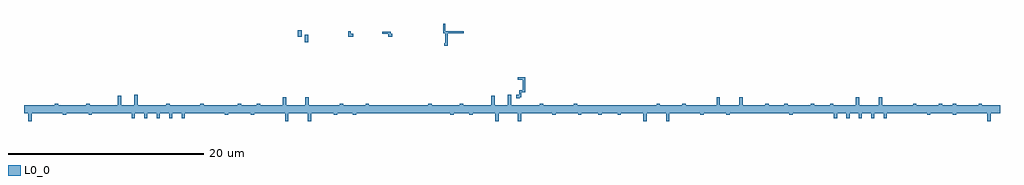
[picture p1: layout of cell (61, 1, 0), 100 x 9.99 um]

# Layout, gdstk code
import gdstk
lib = gdstk.Library(unit=1e-6, precision=1e-09)
def P(c, l, *ps):  # polygons
    for p in ps: c.add(gdstk.Polygon(p, *l))
L0_0 = (0, 0)

c__61__1__0_ = lib.new_cell('(61, 1, 0)')
P(c__61__1__0_, L0_0, [(942.48,921.04),(942.48,920.24),(941.82,920.24),(941.82,921.04),(942.48,921.04)],
  [(900,921.04),(1000,921.04),(1000,920.24),(900,920.24),(900,921.04)],
  [(909.48,921.04),(909.48,920.24),(908.82,920.24),(908.82,921.04),(909.48,921.04)],
  [(987.91,921.04),(991.09,921.04),(991.09,921.215),(991.43,921.215),(991.43,921.04),(993.73,921.04),(993.73,921.215),(994.07,921.215),(994.07,921.04),(994.62,921.04),(994.62,920.24),(979.44,920.24),(979.44,921.04),(980.635,921.04),(980.635,921.215),(980.975,921.215),(980.975,921.04),(982.59,921.04),(982.59,921.215),(982.93,921.215),(982.93,921.04),(985.245,921.04),(985.245,921.875),(985.585,921.875),(985.585,921.04),(987.57,921.04),(987.57,921.88),(987.91,921.88),(987.91,921.04)],
  [(978.4,920.24),(977.46,920.24),(977.46,921.04),(981.42,921.04),(981.42,920.24),(978.74,920.24),(978.74,920.065),(978.4,920.065),(978.4,920.24)],
  [(1000,920.24),(994.62,920.24),(994.62,921.04),(995.17,921.04),(995.17,921.215),(995.51,921.215),(995.51,921.04),(997.81,921.04),(997.81,921.215),(998.15,921.215),(998.15,921.04),(1000,921.04),(1000,920.24)],
  [(1000,920.24),(999.03,920.24),(999.03,919.4),(998.69,919.4),(998.69,920.24),(995.51,920.24),(995.51,920.065),(995.17,920.065),(995.17,920.24),(992.87,920.24),(992.87,920.065),(992.53,920.065),(992.53,920.24),(991.98,920.24),(991.98,921.04),(1000,921.04),(1000,920.24)],
  [(939.84,921.04),(940.5,921.04),(940.5,920.24),(939.84,920.24),(939.84,921.04)],
  [(976.8,921.04),(976.8,920.24),(975.48,920.24),(975.48,921.04),(976.8,921.04)],
  [(941.82,921.04),(941.82,920.24),(940.5,920.24),(940.5,921.04),(941.82,921.04)],
  [(908.82,921.04),(908.82,920.24),(907.5,920.24),(907.5,921.04),(908.82,921.04)],
  [(926.75,920.24),(923.57,920.24),(923.57,920.065),(923.23,920.065),(923.23,920.24),(920.93,920.24),(920.93,920.065),(920.59,920.065),(920.59,920.24),(920.04,920.24),(920.04,921.04),(935.22,921.04),(935.22,920.24),(934.025,920.24),(934.025,920.065),(933.685,920.065),(933.685,920.24),(932.07,920.24),(932.07,920.065),(931.73,920.065),(931.73,920.24),(929.415,920.24),(929.415,919.405),(929.075,919.405),(929.075,920.24),(927.09,920.24),(927.09,919.4),(926.75,919.4),(926.75,920.24)],
  [(940.5,921.04),(940.5,920.24),(935.22,920.24),(935.22,921.04),(940.5,921.04)],
  [(965.79,919.4),(965.79,920.24),(963.805,920.24),(963.805,919.405),(963.465,919.405),(963.465,920.24),(961.15,920.24),(961.15,920.065),(960.81,920.065),(960.81,920.24),(959.195,920.24),(959.195,920.065),(958.855,920.065),(958.855,920.24),(957.66,920.24),(957.66,921.04),(972.84,921.04),(972.84,920.24),(972.29,920.24),(972.29,920.065),(971.95,920.065),(971.95,920.24),(969.65,920.24),(969.65,920.065),(969.31,920.065),(969.31,920.24),(966.13,920.24),(966.13,919.4),(965.79,919.4)],
  [(949.92,922.11),(949.92,921.04),(952.85,921.04),(952.85,921.215),(953.19,921.215),(953.19,921.04),(956.35,921.04),(956.35,921.215),(956.69,921.215),(956.69,921.04),(957.66,921.04),(957.66,920.24),(944.46,920.24),(944.46,921.04),(944.66,921.04),(944.66,921.215),(945,921.215),(945,921.04),(947.89,921.04),(947.89,922.02),(948.23,922.02),(948.23,921.04),(949.58,921.04),(949.58,922.11),(949.92,922.11)],
  [(957.66,921.04),(962.94,921.04),(962.94,920.24),(957.66,920.24),(957.66,921.04)],
  [(962.94,921.04),(964.26,921.04),(964.26,920.24),(962.94,920.24),(962.94,921.04)],
  [(938.52,921.04),(939.84,921.04),(939.84,920.24),(938.52,920.24),(938.52,921.04)],
  [(919.38,921.04),(920.7,921.04),(920.7,920.24),(919.38,920.24),(919.38,921.04)],
  [(900,921.04),(907.5,921.04),(907.5,920.24),(906.95,920.24),(906.95,920.065),(906.61,920.065),(906.61,920.24),(904.31,920.24),(904.31,920.065),(903.97,920.065),(903.97,920.24),(900.79,920.24),(900.79,919.4),(900.45,919.4),(900.45,920.24),(900,920.24),(900,921.04)],
  [(941.78,921.215),(941.78,921.04),(944.46,921.04),(944.46,920.24),(940.5,920.24),(940.5,921.04),(941.44,921.04),(941.44,921.215),(941.78,921.215)],
  [(929.17,921.04),(932.35,921.04),(932.35,921.215),(932.69,921.215),(932.69,921.04),(934.99,921.04),(934.99,921.215),(935.33,921.215),(935.33,921.04),(935.88,921.04),(935.88,920.24),(920.7,920.24),(920.7,921.04),(921.895,921.04),(921.895,921.215),(922.235,921.215),(922.235,921.04),(923.85,921.04),(923.85,921.215),(924.19,921.215),(924.19,921.04),(926.505,921.04),(926.505,921.875),(926.845,921.875),(926.845,921.04),(928.83,921.04),(928.83,921.88),(929.17,921.88),(929.17,921.04)],
  [(975.48,921.04),(975.48,920.24),(972.84,920.24),(972.84,921.04),(975.48,921.04)],
  [(911.64,922.11),(911.64,921.04),(914.57,921.04),(914.57,921.215),(914.91,921.215),(914.91,921.04),(918.07,921.04),(918.07,921.215),(918.41,921.215),(918.41,921.04),(919.38,921.04),(919.38,920.24),(906.18,920.24),(906.18,921.04),(906.38,921.04),(906.38,921.215),(906.72,921.215),(906.72,921.04),(909.61,921.04),(909.61,922.02),(909.95,922.02),(909.95,921.04),(911.3,921.04),(911.3,922.11),(911.64,922.11)],
  [(900,921.04),(902.22,921.04),(902.22,920.24),(900,920.24),(900,921.04)],
  [(916.14,920.24),(915.2,920.24),(915.2,919.69),(914.86,919.69),(914.86,920.24),(913.92,920.24),(913.92,919.69),(913.58,919.69),(913.58,920.24),(912.64,920.24),(912.64,919.69),(912.3,919.69),(912.3,920.24),(911.36,920.24),(911.36,919.69),(911.02,919.69),(911.02,920.24),(909.48,920.24),(909.48,921.04),(920.04,921.04),(920.04,920.24),(916.48,920.24),(916.48,919.69),(916.14,919.69),(916.14,920.24)],
  [(903.5,921.215),(903.5,921.04),(906.18,921.04),(906.18,920.24),(902.22,920.24),(902.22,921.04),(903.16,921.04),(903.16,921.215),(903.5,921.215)],
  [(935.88,921.04),(938.52,921.04),(938.52,920.24),(935.88,920.24),(935.88,921.04)],
  [(988.08,920.24),(987.14,920.24),(987.14,919.69),(986.8,919.69),(986.8,920.24),(985.86,920.24),(985.86,919.69),(985.52,919.69),(985.52,920.24),(984.58,920.24),(984.58,919.69),(984.24,919.69),(984.24,920.24),(983.3,920.24),(983.3,919.69),(982.96,919.69),(982.96,920.24),(981.42,920.24),(981.42,921.04),(991.98,921.04),(991.98,920.24),(988.42,920.24),(988.42,919.69),(988.08,919.69),(988.08,920.24)],
  [(971.31,921.88),(971.31,921.04),(973.295,921.04),(973.295,921.875),(973.635,921.875),(973.635,921.04),(975.95,921.04),(975.95,921.215),(976.29,921.215),(976.29,921.04),(977.905,921.04),(977.905,921.215),(978.245,921.215),(978.245,921.04),(979.44,921.04),(979.44,920.24),(964.26,920.24),(964.26,921.04),(964.81,921.04),(964.81,921.215),(965.15,921.215),(965.15,921.04),(967.45,921.04),(967.45,921.215),(967.79,921.215),(967.79,921.04),(970.97,921.04),(970.97,921.88),(971.31,921.88)],
  [(950.61,919.4),(950.61,920.24),(948.625,920.24),(948.625,919.405),(948.285,919.405),(948.285,920.24),(945.97,920.24),(945.97,920.065),(945.63,920.065),(945.63,920.24),(944.015,920.24),(944.015,920.065),(943.675,920.065),(943.675,920.24),(942.48,920.24),(942.48,921.04),(957.66,921.04),(957.66,920.24),(957.11,920.24),(957.11,920.065),(956.77,920.065),(956.77,920.24),(954.47,920.24),(954.47,920.065),(954.13,920.065),(954.13,920.24),(950.95,920.24),(950.95,919.4),(950.61,919.4)],
  [(977.46,921.04),(977.46,920.24),(976.8,920.24),(976.8,921.04),(977.46,921.04)],
  [(928.1,928.34),(928.48,928.34),(928.48,928.06),(928.1,928.06),(928.1,928.34)],
  [(928.48,928.735),(928.48,928.06),(928.05,928.06),(928.05,928.735),(928.48,928.735)],
  [(928.76,927.78),(929.14,927.78),(929.14,927.5),(928.76,927.5),(928.76,927.78)],
  [(929.14,928.265),(929.14,927.5),(928.76,927.5),(928.76,928.265),(929.14,928.265)],
  [(1000,920.24),(999.03,920.24),(999.03,919.4),(998.69,919.4),(998.69,920.24),(995.51,920.24),(995.51,920.065),(995.17,920.065),(995.17,920.24),(992.87,920.24),(992.87,920.065),(992.53,920.065),(992.53,920.24),(991.98,920.24),(991.98,921.04),(1000,921.04),(1000,920.24)],
  [(987.91,921.04),(991.09,921.04),(991.09,921.215),(991.43,921.215),(991.43,921.04),(993.73,921.04),(993.73,921.215),(994.07,921.215),(994.07,921.04),(994.62,921.04),(994.62,920.24),(979.44,920.24),(979.44,921.04),(980.635,921.04),(980.635,921.215),(980.975,921.215),(980.975,921.04),(982.59,921.04),(982.59,921.215),(982.93,921.215),(982.93,921.04),(985.245,921.04),(985.245,921.875),(985.585,921.875),(985.585,921.04),(987.57,921.04),(987.57,921.88),(987.91,921.88),(987.91,921.04)],
  [(978.4,920.24),(977.46,920.24),(977.46,921.04),(981.42,921.04),(981.42,920.24),(978.74,920.24),(978.74,920.065),(978.4,920.065),(978.4,920.24)],
  [(988.08,920.24),(987.14,920.24),(987.14,919.69),(986.8,919.69),(986.8,920.24),(985.86,920.24),(985.86,919.69),(985.52,919.69),(985.52,920.24),(984.58,920.24),(984.58,919.69),(984.24,919.69),(984.24,920.24),(983.3,920.24),(983.3,919.69),(982.96,919.69),(982.96,920.24),(981.42,920.24),(981.42,921.04),(991.98,921.04),(991.98,920.24),(988.42,920.24),(988.42,919.69),(988.08,919.69),(988.08,920.24)],
  [(957.66,921.04),(962.94,921.04),(962.94,920.24),(957.66,920.24),(957.66,921.04)],
  [(1000,920.24),(994.62,920.24),(994.62,921.04),(995.17,921.04),(995.17,921.215),(995.51,921.215),(995.51,921.04),(997.81,921.04),(997.81,921.215),(998.15,921.215),(998.15,921.04),(1000,921.04),(1000,920.24)],
  [(971.31,921.88),(971.31,921.04),(973.295,921.04),(973.295,921.875),(973.635,921.875),(973.635,921.04),(975.95,921.04),(975.95,921.215),(976.29,921.215),(976.29,921.04),(977.905,921.04),(977.905,921.215),(978.245,921.215),(978.245,921.04),(979.44,921.04),(979.44,920.24),(964.26,920.24),(964.26,921.04),(964.81,921.04),(964.81,921.215),(965.15,921.215),(965.15,921.04),(967.45,921.04),(967.45,921.215),(967.79,921.215),(967.79,921.04),(970.97,921.04),(970.97,921.88),(971.31,921.88)],
  [(965.79,919.4),(965.79,920.24),(963.805,920.24),(963.805,919.405),(963.465,919.405),(963.465,920.24),(961.15,920.24),(961.15,920.065),(960.81,920.065),(960.81,920.24),(959.195,920.24),(959.195,920.065),(958.855,920.065),(958.855,920.24),(957.66,920.24),(957.66,921.04),(972.84,921.04),(972.84,920.24),(972.29,920.24),(972.29,920.065),(971.95,920.065),(971.95,920.24),(969.65,920.24),(969.65,920.065),(969.31,920.065),(969.31,920.24),(966.13,920.24),(966.13,919.4),(965.79,919.4)],
  [(949.92,922.11),(949.92,921.04),(952.85,921.04),(952.85,921.215),(953.19,921.215),(953.19,921.04),(956.35,921.04),(956.35,921.215),(956.69,921.215),(956.69,921.04),(957.66,921.04),(957.66,920.24),(944.46,920.24),(944.46,921.04),(944.66,921.04),(944.66,921.215),(945,921.215),(945,921.04),(947.89,921.04),(947.89,922.02),(948.23,922.02),(948.23,921.04),(949.58,921.04),(949.58,922.11),(949.92,922.11)],
  [(962.94,921.04),(964.26,921.04),(964.26,920.24),(962.94,920.24),(962.94,921.04)],
  [(975.48,921.04),(975.48,920.24),(972.84,920.24),(972.84,921.04),(975.48,921.04)],
  [(976.8,921.04),(976.8,920.24),(975.48,920.24),(975.48,921.04),(976.8,921.04)],
  [(977.46,921.04),(977.46,920.24),(976.8,920.24),(976.8,921.04),(977.46,921.04)],
  [(941.82,921.04),(941.82,920.24),(940.5,920.24),(940.5,921.04),(941.82,921.04)],
  [(942.48,921.04),(942.48,920.24),(941.82,920.24),(941.82,921.04),(942.48,921.04)],
  [(938.52,921.04),(939.84,921.04),(939.84,920.24),(938.52,920.24),(938.52,921.04)],
  [(919.38,921.04),(920.7,921.04),(920.7,920.24),(919.38,920.24),(919.38,921.04)],
  [(926.75,920.24),(923.57,920.24),(923.57,920.065),(923.23,920.065),(923.23,920.24),(920.93,920.24),(920.93,920.065),(920.59,920.065),(920.59,920.24),(920.04,920.24),(920.04,921.04),(935.22,921.04),(935.22,920.24),(934.025,920.24),(934.025,920.065),(933.685,920.065),(933.685,920.24),(932.07,920.24),(932.07,920.065),(931.73,920.065),(931.73,920.24),(929.415,920.24),(929.415,919.405),(929.075,919.405),(929.075,920.24),(927.09,920.24),(927.09,919.4),(926.75,919.4),(926.75,920.24)],
  [(950.61,919.4),(950.61,920.24),(948.625,920.24),(948.625,919.405),(948.285,919.405),(948.285,920.24),(945.97,920.24),(945.97,920.065),(945.63,920.065),(945.63,920.24),(944.015,920.24),(944.015,920.065),(943.675,920.065),(943.675,920.24),(942.48,920.24),(942.48,921.04),(957.66,921.04),(957.66,920.24),(957.11,920.24),(957.11,920.065),(956.77,920.065),(956.77,920.24),(954.47,920.24),(954.47,920.065),(954.13,920.065),(954.13,920.24),(950.95,920.24),(950.95,919.4),(950.61,919.4)],
  [(929.17,921.04),(932.35,921.04),(932.35,921.215),(932.69,921.215),(932.69,921.04),(934.99,921.04),(934.99,921.215),(935.33,921.215),(935.33,921.04),(935.88,921.04),(935.88,920.24),(920.7,920.24),(920.7,921.04),(921.895,921.04),(921.895,921.215),(922.235,921.215),(922.235,921.04),(923.85,921.04),(923.85,921.215),(924.19,921.215),(924.19,921.04),(926.505,921.04),(926.505,921.875),(926.845,921.875),(926.845,921.04),(928.83,921.04),(928.83,921.88),(929.17,921.88),(929.17,921.04)],
  [(940.5,921.04),(940.5,920.24),(935.22,920.24),(935.22,921.04),(940.5,921.04)],
  [(935.88,921.04),(938.52,921.04),(938.52,920.24),(935.88,920.24),(935.88,921.04)],
  [(965.79,919.4),(965.79,920.24),(963.805,920.24),(963.805,919.405),(963.465,919.405),(963.465,920.24),(961.15,920.24),(961.15,920.065),(960.81,920.065),(960.81,920.24),(959.195,920.24),(959.195,920.065),(958.855,920.065),(958.855,920.24),(957.66,920.24),(957.66,921.04),(972.84,921.04),(972.84,920.24),(972.29,920.24),(972.29,920.065),(971.95,920.065),(971.95,920.24),(969.65,920.24),(969.65,920.065),(969.31,920.065),(969.31,920.24),(966.13,920.24),(966.13,919.4),(965.79,919.4)],
  [(949.92,922.11),(949.92,921.04),(952.85,921.04),(952.85,921.215),(953.19,921.215),(953.19,921.04),(956.35,921.04),(956.35,921.215),(956.69,921.215),(956.69,921.04),(957.66,921.04),(957.66,920.24),(944.46,920.24),(944.46,921.04),(944.66,921.04),(944.66,921.215),(945,921.215),(945,921.04),(947.89,921.04),(947.89,922.02),(948.23,922.02),(948.23,921.04),(949.58,921.04),(949.58,922.11),(949.92,922.11)],
  [(971.31,921.88),(971.31,921.04),(973.295,921.04),(973.295,921.875),(973.635,921.875),(973.635,921.04),(975.95,921.04),(975.95,921.215),(976.29,921.215),(976.29,921.04),(977.905,921.04),(977.905,921.215),(978.245,921.215),(978.245,921.04),(979.44,921.04),(979.44,920.24),(964.26,920.24),(964.26,921.04),(964.81,921.04),(964.81,921.215),(965.15,921.215),(965.15,921.04),(967.45,921.04),(967.45,921.215),(967.79,921.215),(967.79,921.04),(970.97,921.04),(970.97,921.88),(971.31,921.88)],
  [(941.78,921.215),(941.78,921.04),(944.46,921.04),(944.46,920.24),(940.5,920.24),(940.5,921.04),(941.44,921.04),(941.44,921.215),(941.78,921.215)],
  [(975.48,921.04),(975.48,920.24),(972.84,920.24),(972.84,921.04),(975.48,921.04)],
  [(939.84,921.04),(940.5,921.04),(940.5,920.24),(939.84,920.24),(939.84,921.04)],
  [(957.66,921.04),(962.94,921.04),(962.94,920.24),(957.66,920.24),(957.66,921.04)],
  [(962.94,921.04),(964.26,921.04),(964.26,920.24),(962.94,920.24),(962.94,921.04)],
  [(900,921.04),(902.22,921.04),(902.22,920.24),(900,920.24),(900,921.04)],
  [(908.82,921.04),(908.82,920.24),(907.5,920.24),(907.5,921.04),(908.82,921.04)],
  [(909.48,921.04),(909.48,920.24),(908.82,920.24),(908.82,921.04),(909.48,921.04)],
  [(919.38,921.04),(920.7,921.04),(920.7,920.24),(919.38,920.24),(919.38,921.04)],
  [(916.14,920.24),(915.2,920.24),(915.2,919.69),(914.86,919.69),(914.86,920.24),(913.92,920.24),(913.92,919.69),(913.58,919.69),(913.58,920.24),(912.64,920.24),(912.64,919.69),(912.3,919.69),(912.3,920.24),(911.36,920.24),(911.36,919.69),(911.02,919.69),(911.02,920.24),(909.48,920.24),(909.48,921.04),(920.04,921.04),(920.04,920.24),(916.48,920.24),(916.48,919.69),(916.14,919.69),(916.14,920.24)],
  [(903.5,921.215),(903.5,921.04),(906.18,921.04),(906.18,920.24),(902.22,920.24),(902.22,921.04),(903.16,921.04),(903.16,921.215),(903.5,921.215)],
  [(900,921.04),(907.5,921.04),(907.5,920.24),(906.95,920.24),(906.95,920.065),(906.61,920.065),(906.61,920.24),(904.31,920.24),(904.31,920.065),(903.97,920.065),(903.97,920.24),(900.79,920.24),(900.79,919.4),(900.45,919.4),(900.45,920.24),(900,920.24),(900,921.04)],
  [(911.64,922.11),(911.64,921.04),(914.57,921.04),(914.57,921.215),(914.91,921.215),(914.91,921.04),(918.07,921.04),(918.07,921.215),(918.41,921.215),(918.41,921.04),(919.38,921.04),(919.38,920.24),(906.18,920.24),(906.18,921.04),(906.38,921.04),(906.38,921.215),(906.72,921.215),(906.72,921.04),(909.61,921.04),(909.61,922.02),(909.95,922.02),(909.95,921.04),(911.3,921.04),(911.3,922.11),(911.64,922.11)],
  [(916.14,920.24),(915.2,920.24),(915.2,919.69),(914.86,919.69),(914.86,920.24),(913.92,920.24),(913.92,919.69),(913.58,919.69),(913.58,920.24),(912.64,920.24),(912.64,919.69),(912.3,919.69),(912.3,920.24),(911.36,920.24),(911.36,919.69),(911.02,919.69),(911.02,920.24),(909.48,920.24),(909.48,921.04),(920.04,921.04),(920.04,920.24),(916.48,920.24),(916.48,919.69),(916.14,919.69),(916.14,920.24)],
  [(909.48,921.04),(909.48,920.24),(908.82,920.24),(908.82,921.04),(909.48,921.04)],
  [(908.82,921.04),(908.82,920.24),(907.5,920.24),(907.5,921.04),(908.82,921.04)],
  [(919.38,921.04),(920.7,921.04),(920.7,920.24),(919.38,920.24),(919.38,921.04)],
  [(903.5,921.215),(903.5,921.04),(906.18,921.04),(906.18,920.24),(902.22,920.24),(902.22,921.04),(903.16,921.04),(903.16,921.215),(903.5,921.215)],
  [(926.75,920.24),(923.57,920.24),(923.57,920.065),(923.23,920.065),(923.23,920.24),(920.93,920.24),(920.93,920.065),(920.59,920.065),(920.59,920.24),(920.04,920.24),(920.04,921.04),(935.22,921.04),(935.22,920.24),(934.025,920.24),(934.025,920.065),(933.685,920.065),(933.685,920.24),(932.07,920.24),(932.07,920.065),(931.73,920.065),(931.73,920.24),(929.415,920.24),(929.415,919.405),(929.075,919.405),(929.075,920.24),(927.09,920.24),(927.09,919.4),(926.75,919.4),(926.75,920.24)],
  [(900,921.04),(907.5,921.04),(907.5,920.24),(906.95,920.24),(906.95,920.065),(906.61,920.065),(906.61,920.24),(904.31,920.24),(904.31,920.065),(903.97,920.065),(903.97,920.24),(900.79,920.24),(900.79,919.4),(900.45,919.4),(900.45,920.24),(900,920.24),(900,921.04)],
  [(929.17,921.04),(932.35,921.04),(932.35,921.215),(932.69,921.215),(932.69,921.04),(934.99,921.04),(934.99,921.215),(935.33,921.215),(935.33,921.04),(935.88,921.04),(935.88,920.24),(920.7,920.24),(920.7,921.04),(921.895,921.04),(921.895,921.215),(922.235,921.215),(922.235,921.04),(923.85,921.04),(923.85,921.215),(924.19,921.215),(924.19,921.04),(926.505,921.04),(926.505,921.875),(926.845,921.875),(926.845,921.04),(928.83,921.04),(928.83,921.88),(929.17,921.88),(929.17,921.04)],
  [(911.64,922.11),(911.64,921.04),(914.57,921.04),(914.57,921.215),(914.91,921.215),(914.91,921.04),(918.07,921.04),(918.07,921.215),(918.41,921.215),(918.41,921.04),(919.38,921.04),(919.38,920.24),(906.18,920.24),(906.18,921.04),(906.38,921.04),(906.38,921.215),(906.72,921.215),(906.72,921.04),(909.61,921.04),(909.61,922.02),(909.95,922.02),(909.95,921.04),(911.3,921.04),(911.3,922.11),(911.64,922.11)],
  [(908.82,921.04),(908.82,920.24),(907.5,920.24),(907.5,921.04),(908.82,921.04)],
  [(919.38,921.04),(920.7,921.04),(920.7,920.24),(919.38,920.24),(919.38,921.04)],
  [(916.14,920.24),(915.2,920.24),(915.2,919.69),(914.86,919.69),(914.86,920.24),(913.92,920.24),(913.92,919.69),(913.58,919.69),(913.58,920.24),(912.64,920.24),(912.64,919.69),(912.3,919.69),(912.3,920.24),(911.36,920.24),(911.36,919.69),(911.02,919.69),(911.02,920.24),(909.48,920.24),(909.48,921.04),(920.04,921.04),(920.04,920.24),(916.48,920.24),(916.48,919.69),(916.14,919.69),(916.14,920.24)],
  [(909.48,921.04),(909.48,920.24),(908.82,920.24),(908.82,921.04),(909.48,921.04)],
  [(926.75,920.24),(923.57,920.24),(923.57,920.065),(923.23,920.065),(923.23,920.24),(920.93,920.24),(920.93,920.065),(920.59,920.065),(920.59,920.24),(920.04,920.24),(920.04,921.04),(935.22,921.04),(935.22,920.24),(934.025,920.24),(934.025,920.065),(933.685,920.065),(933.685,920.24),(932.07,920.24),(932.07,920.065),(931.73,920.065),(931.73,920.24),(929.415,920.24),(929.415,919.405),(929.075,919.405),(929.075,920.24),(927.09,920.24),(927.09,919.4),(926.75,919.4),(926.75,920.24)],
  [(940.5,921.04),(940.5,920.24),(935.22,920.24),(935.22,921.04),(940.5,921.04)],
  [(935.88,921.04),(938.52,921.04),(938.52,920.24),(935.88,920.24),(935.88,921.04)],
  [(900,921.04),(907.5,921.04),(907.5,920.24),(906.95,920.24),(906.95,920.065),(906.61,920.065),(906.61,920.24),(904.31,920.24),(904.31,920.065),(903.97,920.065),(903.97,920.24),(900.79,920.24),(900.79,919.4),(900.45,919.4),(900.45,920.24),(900,920.24),(900,921.04)],
  [(929.17,921.04),(932.35,921.04),(932.35,921.215),(932.69,921.215),(932.69,921.04),(934.99,921.04),(934.99,921.215),(935.33,921.215),(935.33,921.04),(935.88,921.04),(935.88,920.24),(920.7,920.24),(920.7,921.04),(921.895,921.04),(921.895,921.215),(922.235,921.215),(922.235,921.04),(923.85,921.04),(923.85,921.215),(924.19,921.215),(924.19,921.04),(926.505,921.04),(926.505,921.875),(926.845,921.875),(926.845,921.04),(928.83,921.04),(928.83,921.88),(929.17,921.88),(929.17,921.04)],
  [(911.64,922.11),(911.64,921.04),(914.57,921.04),(914.57,921.215),(914.91,921.215),(914.91,921.04),(918.07,921.04),(918.07,921.215),(918.41,921.215),(918.41,921.04),(919.38,921.04),(919.38,920.24),(906.18,920.24),(906.18,921.04),(906.38,921.04),(906.38,921.215),(906.72,921.215),(906.72,921.04),(909.61,921.04),(909.61,922.02),(909.95,922.02),(909.95,921.04),(911.3,921.04),(911.3,922.11),(911.64,922.11)],
  [(941.82,921.04),(941.82,920.24),(940.5,920.24),(940.5,921.04),(941.82,921.04)],
  [(942.48,921.04),(942.48,920.24),(941.82,920.24),(941.82,921.04),(942.48,921.04)],
  [(977.46,921.04),(977.46,920.24),(976.8,920.24),(976.8,921.04),(977.46,921.04)],
  [(976.8,921.04),(976.8,920.24),(975.48,920.24),(975.48,921.04),(976.8,921.04)],
  [(971.31,921.88),(971.31,921.04),(973.295,921.04),(973.295,921.875),(973.635,921.875),(973.635,921.04),(975.95,921.04),(975.95,921.215),(976.29,921.215),(976.29,921.04),(977.905,921.04),(977.905,921.215),(978.245,921.215),(978.245,921.04),(979.44,921.04),(979.44,920.24),(964.26,920.24),(964.26,921.04),(964.81,921.04),(964.81,921.215),(965.15,921.215),(965.15,921.04),(967.45,921.04),(967.45,921.215),(967.79,921.215),(967.79,921.04),(970.97,921.04),(970.97,921.88),(971.31,921.88)],
  [(949.92,922.11),(949.92,921.04),(952.85,921.04),(952.85,921.215),(953.19,921.215),(953.19,921.04),(956.35,921.04),(956.35,921.215),(956.69,921.215),(956.69,921.04),(957.66,921.04),(957.66,920.24),(944.46,920.24),(944.46,921.04),(944.66,921.04),(944.66,921.215),(945,921.215),(945,921.04),(947.89,921.04),(947.89,922.02),(948.23,922.02),(948.23,921.04),(949.58,921.04),(949.58,922.11),(949.92,922.11)],
  [(965.79,919.4),(965.79,920.24),(963.805,920.24),(963.805,919.405),(963.465,919.405),(963.465,920.24),(961.15,920.24),(961.15,920.065),(960.81,920.065),(960.81,920.24),(959.195,920.24),(959.195,920.065),(958.855,920.065),(958.855,920.24),(957.66,920.24),(957.66,921.04),(972.84,921.04),(972.84,920.24),(972.29,920.24),(972.29,920.065),(971.95,920.065),(971.95,920.24),(969.65,920.24),(969.65,920.065),(969.31,920.065),(969.31,920.24),(966.13,920.24),(966.13,919.4),(965.79,919.4)],
  [(950.61,919.4),(950.61,920.24),(948.625,920.24),(948.625,919.405),(948.285,919.405),(948.285,920.24),(945.97,920.24),(945.97,920.065),(945.63,920.065),(945.63,920.24),(944.015,920.24),(944.015,920.065),(943.675,920.065),(943.675,920.24),(942.48,920.24),(942.48,921.04),(957.66,921.04),(957.66,920.24),(957.11,920.24),(957.11,920.065),(956.77,920.065),(956.77,920.24),(954.47,920.24),(954.47,920.065),(954.13,920.065),(954.13,920.24),(950.95,920.24),(950.95,919.4),(950.61,919.4)],
  [(975.48,921.04),(975.48,920.24),(972.84,920.24),(972.84,921.04),(975.48,921.04)],
  [(957.66,921.04),(962.94,921.04),(962.94,920.24),(957.66,920.24),(957.66,921.04)],
  [(962.94,921.04),(964.26,921.04),(964.26,920.24),(962.94,920.24),(962.94,921.04)],
  [(951.34,923.905),(951.34,922.365),(950.95,922.365),(950.95,921.85),(950.77,921.85),(950.77,921.77),(950.43,921.77),(950.43,922.11),(950.72,922.11),(950.72,922.595),(951.11,922.595),(951.11,923.675),(950.6,923.675),(950.6,923.905),(951.34,923.905)],
  [(941.82,921.04),(941.82,920.24),(940.5,920.24),(940.5,921.04),(941.82,921.04)],
  [(938.52,921.04),(939.84,921.04),(939.84,920.24),(938.52,920.24),(938.52,921.04)],
  [(942.48,921.04),(942.48,920.24),(941.82,920.24),(941.82,921.04),(942.48,921.04)],
  [(919.38,921.04),(920.7,921.04),(920.7,920.24),(919.38,920.24),(919.38,921.04)],
  [(916.14,920.24),(915.2,920.24),(915.2,919.69),(914.86,919.69),(914.86,920.24),(913.92,920.24),(913.92,919.69),(913.58,919.69),(913.58,920.24),(912.64,920.24),(912.64,919.69),(912.3,919.69),(912.3,920.24),(911.36,920.24),(911.36,919.69),(911.02,919.69),(911.02,920.24),(909.48,920.24),(909.48,921.04),(920.04,921.04),(920.04,920.24),(916.48,920.24),(916.48,919.69),(916.14,919.69),(916.14,920.24)],
  [(926.75,920.24),(923.57,920.24),(923.57,920.065),(923.23,920.065),(923.23,920.24),(920.93,920.24),(920.93,920.065),(920.59,920.065),(920.59,920.24),(920.04,920.24),(920.04,921.04),(935.22,921.04),(935.22,920.24),(934.025,920.24),(934.025,920.065),(933.685,920.065),(933.685,920.24),(932.07,920.24),(932.07,920.065),(931.73,920.065),(931.73,920.24),(929.415,920.24),(929.415,919.405),(929.075,919.405),(929.075,920.24),(927.09,920.24),(927.09,919.4),(926.75,919.4),(926.75,920.24)],
  [(940.5,921.04),(940.5,920.24),(935.22,920.24),(935.22,921.04),(940.5,921.04)],
  [(935.88,921.04),(938.52,921.04),(938.52,920.24),(935.88,920.24),(935.88,921.04)],
  [(950.61,919.4),(950.61,920.24),(948.625,920.24),(948.625,919.405),(948.285,919.405),(948.285,920.24),(945.97,920.24),(945.97,920.065),(945.63,920.065),(945.63,920.24),(944.015,920.24),(944.015,920.065),(943.675,920.065),(943.675,920.24),(942.48,920.24),(942.48,921.04),(957.66,921.04),(957.66,920.24),(957.11,920.24),(957.11,920.065),(956.77,920.065),(956.77,920.24),(954.47,920.24),(954.47,920.065),(954.13,920.065),(954.13,920.24),(950.95,920.24),(950.95,919.4),(950.61,919.4)],
  [(929.17,921.04),(932.35,921.04),(932.35,921.215),(932.69,921.215),(932.69,921.04),(934.99,921.04),(934.99,921.215),(935.33,921.215),(935.33,921.04),(935.88,921.04),(935.88,920.24),(920.7,920.24),(920.7,921.04),(921.895,921.04),(921.895,921.215),(922.235,921.215),(922.235,921.04),(923.85,921.04),(923.85,921.215),(924.19,921.215),(924.19,921.04),(926.505,921.04),(926.505,921.875),(926.845,921.875),(926.845,921.04),(928.83,921.04),(928.83,921.88),(929.17,921.88),(929.17,921.04)],
  [(939.84,921.04),(940.5,921.04),(940.5,920.24),(939.84,920.24),(939.84,921.04)],
  [(941.82,921.04),(941.82,920.24),(940.5,920.24),(940.5,921.04),(941.82,921.04)],
  [(977.46,921.04),(977.46,920.24),(976.8,920.24),(976.8,921.04),(977.46,921.04)],
  [(957.66,921.04),(962.94,921.04),(962.94,920.24),(957.66,920.24),(957.66,921.04)],
  [(965.79,919.4),(965.79,920.24),(963.805,920.24),(963.805,919.405),(963.465,919.405),(963.465,920.24),(961.15,920.24),(961.15,920.065),(960.81,920.065),(960.81,920.24),(959.195,920.24),(959.195,920.065),(958.855,920.065),(958.855,920.24),(957.66,920.24),(957.66,921.04),(972.84,921.04),(972.84,920.24),(972.29,920.24),(972.29,920.065),(971.95,920.065),(971.95,920.24),(969.65,920.24),(969.65,920.065),(969.31,920.065),(969.31,920.24),(966.13,920.24),(966.13,919.4),(965.79,919.4)],
  [(971.31,921.88),(971.31,921.04),(973.295,921.04),(973.295,921.875),(973.635,921.875),(973.635,921.04),(975.95,921.04),(975.95,921.215),(976.29,921.215),(976.29,921.04),(977.905,921.04),(977.905,921.215),(978.245,921.215),(978.245,921.04),(979.44,921.04),(979.44,920.24),(964.26,920.24),(964.26,921.04),(964.81,921.04),(964.81,921.215),(965.15,921.215),(965.15,921.04),(967.45,921.04),(967.45,921.215),(967.79,921.215),(967.79,921.04),(970.97,921.04),(970.97,921.88),(971.31,921.88)],
  [(950.61,919.4),(950.61,920.24),(948.625,920.24),(948.625,919.405),(948.285,919.405),(948.285,920.24),(945.97,920.24),(945.97,920.065),(945.63,920.065),(945.63,920.24),(944.015,920.24),(944.015,920.065),(943.675,920.065),(943.675,920.24),(942.48,920.24),(942.48,921.04),(957.66,921.04),(957.66,920.24),(957.11,920.24),(957.11,920.065),(956.77,920.065),(956.77,920.24),(954.47,920.24),(954.47,920.065),(954.13,920.065),(954.13,920.24),(950.95,920.24),(950.95,919.4),(950.61,919.4)],
  [(975.48,921.04),(975.48,920.24),(972.84,920.24),(972.84,921.04),(975.48,921.04)],
  [(976.8,921.04),(976.8,920.24),(975.48,920.24),(975.48,921.04),(976.8,921.04)],
  [(962.94,921.04),(964.26,921.04),(964.26,920.24),(962.94,920.24),(962.94,921.04)],
  [(941.82,921.04),(941.82,920.24),(940.5,920.24),(940.5,921.04),(941.82,921.04)],
  [(938.52,921.04),(939.84,921.04),(939.84,920.24),(938.52,920.24),(938.52,921.04)],
  [(916.14,920.24),(915.2,920.24),(915.2,919.69),(914.86,919.69),(914.86,920.24),(913.92,920.24),(913.92,919.69),(913.58,919.69),(913.58,920.24),(912.64,920.24),(912.64,919.69),(912.3,919.69),(912.3,920.24),(911.36,920.24),(911.36,919.69),(911.02,919.69),(911.02,920.24),(909.48,920.24),(909.48,921.04),(920.04,921.04),(920.04,920.24),(916.48,920.24),(916.48,919.69),(916.14,919.69),(916.14,920.24)],
  [(919.38,921.04),(920.7,921.04),(920.7,920.24),(919.38,920.24),(919.38,921.04)],
  [(926.75,920.24),(923.57,920.24),(923.57,920.065),(923.23,920.065),(923.23,920.24),(920.93,920.24),(920.93,920.065),(920.59,920.065),(920.59,920.24),(920.04,920.24),(920.04,921.04),(935.22,921.04),(935.22,920.24),(934.025,920.24),(934.025,920.065),(933.685,920.065),(933.685,920.24),(932.07,920.24),(932.07,920.065),(931.73,920.065),(931.73,920.24),(929.415,920.24),(929.415,919.405),(929.075,919.405),(929.075,920.24),(927.09,920.24),(927.09,919.4),(926.75,919.4),(926.75,920.24)],
  [(935.88,921.04),(938.52,921.04),(938.52,920.24),(935.88,920.24),(935.88,921.04)],
  [(929.17,921.04),(932.35,921.04),(932.35,921.215),(932.69,921.215),(932.69,921.04),(934.99,921.04),(934.99,921.215),(935.33,921.215),(935.33,921.04),(935.88,921.04),(935.88,920.24),(920.7,920.24),(920.7,921.04),(921.895,921.04),(921.895,921.215),(922.235,921.215),(922.235,921.04),(923.85,921.04),(923.85,921.215),(924.19,921.215),(924.19,921.04),(926.505,921.04),(926.505,921.875),(926.845,921.875),(926.845,921.04),(928.83,921.04),(928.83,921.88),(929.17,921.88),(929.17,921.04)],
  [(941.82,921.04),(941.82,920.24),(940.5,920.24),(940.5,921.04),(941.82,921.04)],
  [(942.48,921.04),(942.48,920.24),(941.82,920.24),(941.82,921.04),(942.48,921.04)],
  [(939.84,921.04),(940.5,921.04),(940.5,920.24),(939.84,920.24),(939.84,921.04)],
  [(908.82,921.04),(908.82,920.24),(907.5,920.24),(907.5,921.04),(908.82,921.04)],
  [(909.48,921.04),(909.48,920.24),(908.82,920.24),(908.82,921.04),(909.48,921.04)],
  [(919.38,921.04),(920.7,921.04),(920.7,920.24),(919.38,920.24),(919.38,921.04)],
  [(926.75,920.24),(923.57,920.24),(923.57,920.065),(923.23,920.065),(923.23,920.24),(920.93,920.24),(920.93,920.065),(920.59,920.065),(920.59,920.24),(920.04,920.24),(920.04,921.04),(935.22,921.04),(935.22,920.24),(934.025,920.24),(934.025,920.065),(933.685,920.065),(933.685,920.24),(932.07,920.24),(932.07,920.065),(931.73,920.065),(931.73,920.24),(929.415,920.24),(929.415,919.405),(929.075,919.405),(929.075,920.24),(927.09,920.24),(927.09,919.4),(926.75,919.4),(926.75,920.24)],
  [(900,921.04),(907.5,921.04),(907.5,920.24),(906.95,920.24),(906.95,920.065),(906.61,920.065),(906.61,920.24),(904.31,920.24),(904.31,920.065),(903.97,920.065),(903.97,920.24),(900.79,920.24),(900.79,919.4),(900.45,919.4),(900.45,920.24),(900,920.24),(900,921.04)],
  [(916.14,920.24),(915.2,920.24),(915.2,919.69),(914.86,919.69),(914.86,920.24),(913.92,920.24),(913.92,919.69),(913.58,919.69),(913.58,920.24),(912.64,920.24),(912.64,919.69),(912.3,919.69),(912.3,920.24),(911.36,920.24),(911.36,919.69),(911.02,919.69),(911.02,920.24),(909.48,920.24),(909.48,921.04),(920.04,921.04),(920.04,920.24),(916.48,920.24),(916.48,919.69),(916.14,919.69),(916.14,920.24)],
  [(909.48,921.04),(909.48,920.24),(908.82,920.24),(908.82,921.04),(909.48,921.04)],
  [(919.38,921.04),(920.7,921.04),(920.7,920.24),(919.38,920.24),(919.38,921.04)],
  [(926.75,920.24),(923.57,920.24),(923.57,920.065),(923.23,920.065),(923.23,920.24),(920.93,920.24),(920.93,920.065),(920.59,920.065),(920.59,920.24),(920.04,920.24),(920.04,921.04),(935.22,921.04),(935.22,920.24),(934.025,920.24),(934.025,920.065),(933.685,920.065),(933.685,920.24),(932.07,920.24),(932.07,920.065),(931.73,920.065),(931.73,920.24),(929.415,920.24),(929.415,919.405),(929.075,919.405),(929.075,920.24),(927.09,920.24),(927.09,919.4),(926.75,919.4),(926.75,920.24)],
  [(929.17,921.04),(932.35,921.04),(932.35,921.215),(932.69,921.215),(932.69,921.04),(934.99,921.04),(934.99,921.215),(935.33,921.215),(935.33,921.04),(935.88,921.04),(935.88,920.24),(920.7,920.24),(920.7,921.04),(921.895,921.04),(921.895,921.215),(922.235,921.215),(922.235,921.04),(923.85,921.04),(923.85,921.215),(924.19,921.215),(924.19,921.04),(926.505,921.04),(926.505,921.875),(926.845,921.875),(926.845,921.04),(928.83,921.04),(928.83,921.88),(929.17,921.88),(929.17,921.04)],
  [(950.61,919.4),(950.61,920.24),(948.625,920.24),(948.625,919.405),(948.285,919.405),(948.285,920.24),(945.97,920.24),(945.97,920.065),(945.63,920.065),(945.63,920.24),(944.015,920.24),(944.015,920.065),(943.675,920.065),(943.675,920.24),(942.48,920.24),(942.48,921.04),(957.66,921.04),(957.66,920.24),(957.11,920.24),(957.11,920.065),(956.77,920.065),(956.77,920.24),(954.47,920.24),(954.47,920.065),(954.13,920.065),(954.13,920.24),(950.95,920.24),(950.95,919.4),(950.61,919.4)],
  [(942.48,921.04),(942.48,920.24),(941.82,920.24),(941.82,921.04),(942.48,921.04)],
  [(929.17,921.04),(932.35,921.04),(932.35,921.215),(932.69,921.215),(932.69,921.04),(934.99,921.04),(934.99,921.215),(935.33,921.215),(935.33,921.04),(935.88,921.04),(935.88,920.24),(920.7,920.24),(920.7,921.04),(921.895,921.04),(921.895,921.215),(922.235,921.215),(922.235,921.04),(923.85,921.04),(923.85,921.215),(924.19,921.215),(924.19,921.04),(926.505,921.04),(926.505,921.875),(926.845,921.875),(926.845,921.04),(928.83,921.04),(928.83,921.88),(929.17,921.88),(929.17,921.04)],
  [(916.14,920.24),(915.2,920.24),(915.2,919.69),(914.86,919.69),(914.86,920.24),(913.92,920.24),(913.92,919.69),(913.58,919.69),(913.58,920.24),(912.64,920.24),(912.64,919.69),(912.3,919.69),(912.3,920.24),(911.36,920.24),(911.36,919.69),(911.02,919.69),(911.02,920.24),(909.48,920.24),(909.48,921.04),(920.04,921.04),(920.04,920.24),(916.48,920.24),(916.48,919.69),(916.14,919.69),(916.14,920.24)],
  [(909.48,921.04),(909.48,920.24),(908.82,920.24),(908.82,921.04),(909.48,921.04)],
  [(929.17,921.04),(932.35,921.04),(932.35,921.215),(932.69,921.215),(932.69,921.04),(934.99,921.04),(934.99,921.215),(935.33,921.215),(935.33,921.04),(935.88,921.04),(935.88,920.24),(920.7,920.24),(920.7,921.04),(921.895,921.04),(921.895,921.215),(922.235,921.215),(922.235,921.04),(923.85,921.04),(923.85,921.215),(924.19,921.215),(924.19,921.04),(926.505,921.04),(926.505,921.875),(926.845,921.875),(926.845,921.04),(928.83,921.04),(928.83,921.88),(929.17,921.88),(929.17,921.04)],
  [(926.75,920.24),(923.57,920.24),(923.57,920.065),(923.23,920.065),(923.23,920.24),(920.93,920.24),(920.93,920.065),(920.59,920.065),(920.59,920.24),(920.04,920.24),(920.04,921.04),(935.22,921.04),(935.22,920.24),(934.025,920.24),(934.025,920.065),(933.685,920.065),(933.685,920.24),(932.07,920.24),(932.07,920.065),(931.73,920.065),(931.73,920.24),(929.415,920.24),(929.415,919.405),(929.075,919.405),(929.075,920.24),(927.09,920.24),(927.09,919.4),(926.75,919.4),(926.75,920.24)],
  [(988.08,920.24),(987.14,920.24),(987.14,919.69),(986.8,919.69),(986.8,920.24),(985.86,920.24),(985.86,919.69),(985.52,919.69),(985.52,920.24),(984.58,920.24),(984.58,919.69),(984.24,919.69),(984.24,920.24),(983.3,920.24),(983.3,919.69),(982.96,919.69),(982.96,920.24),(981.42,920.24),(981.42,921.04),(991.98,921.04),(991.98,920.24),(988.42,920.24),(988.42,919.69),(988.08,919.69),(988.08,920.24)],
  [(1000,920.24),(999.03,920.24),(999.03,919.4),(998.69,919.4),(998.69,920.24),(995.51,920.24),(995.51,920.065),(995.17,920.065),(995.17,920.24),(992.87,920.24),(992.87,920.065),(992.53,920.065),(992.53,920.24),(991.98,920.24),(991.98,921.04),(1000,921.04),(1000,920.24)],
  [(1000,920.24),(994.62,920.24),(994.62,921.04),(995.17,921.04),(995.17,921.215),(995.51,921.215),(995.51,921.04),(997.81,921.04),(997.81,921.215),(998.15,921.215),(998.15,921.04),(1000,921.04),(1000,920.24)],
  [(987.91,921.04),(991.09,921.04),(991.09,921.215),(991.43,921.215),(991.43,921.04),(993.73,921.04),(993.73,921.215),(994.07,921.215),(994.07,921.04),(994.62,921.04),(994.62,920.24),(979.44,920.24),(979.44,921.04),(980.635,921.04),(980.635,921.215),(980.975,921.215),(980.975,921.04),(982.59,921.04),(982.59,921.215),(982.93,921.215),(982.93,921.04),(985.245,921.04),(985.245,921.875),(985.585,921.875),(985.585,921.04),(987.57,921.04),(987.57,921.88),(987.91,921.88),(987.91,921.04)],
  [(937.34,928.34),(937.72,928.34),(937.72,928.06),(937.34,928.06),(937.34,928.34)],
  [(937.325,928.345),(936.69,928.345),(936.69,928.575),(937.555,928.575),(937.555,928.315),(937.645,928.315),(937.645,928.085),(937.325,928.085),(937.325,928.345)],
  [(933.235,928.6),(933.465,928.6),(933.465,928.34),(933.755,928.34),(933.755,928.06),(933.235,928.06),(933.235,928.6)],
  [(933.38,928.34),(933.76,928.34),(933.76,928.06),(933.38,928.06),(933.38,928.34)],
  [(943.035,927.375),(943.185,927.375),(943.185,928.395),(942.95,928.395),(942.95,929.39),(943.18,929.39),(943.18,928.625),(945.065,928.625),(945.065,928.395),(943.415,928.395),(943.415,927.145),(943.035,927.145),(943.035,927.375)],
  [(988.08,920.24),(987.14,920.24),(987.14,919.69),(986.8,919.69),(986.8,920.24),(985.86,920.24),(985.86,919.69),(985.52,919.69),(985.52,920.24),(984.58,920.24),(984.58,919.69),(984.24,919.69),(984.24,920.24),(983.3,920.24),(983.3,919.69),(982.96,919.69),(982.96,920.24),(981.42,920.24),(981.42,921.04),(991.98,921.04),(991.98,920.24),(988.42,920.24),(988.42,919.69),(988.08,919.69),(988.08,920.24)],
  [(1000,920.24),(999.03,920.24),(999.03,919.4),(998.69,919.4),(998.69,920.24),(995.51,920.24),(995.51,920.065),(995.17,920.065),(995.17,920.24),(992.87,920.24),(992.87,920.065),(992.53,920.065),(992.53,920.24),(991.98,920.24),(991.98,921.04),(1000,921.04),(1000,920.24)],
  [(1000,920.24),(994.62,920.24),(994.62,921.04),(995.17,921.04),(995.17,921.215),(995.51,921.215),(995.51,921.04),(997.81,921.04),(997.81,921.215),(998.15,921.215),(998.15,921.04),(1000,921.04),(1000,920.24)],
  [(916.14,920.24),(915.2,920.24),(915.2,919.69),(914.86,919.69),(914.86,920.24),(913.92,920.24),(913.92,919.69),(913.58,919.69),(913.58,920.24),(912.64,920.24),(912.64,919.69),(912.3,919.69),(912.3,920.24),(911.36,920.24),(911.36,919.69),(911.02,919.69),(911.02,920.24),(909.48,920.24),(909.48,921.04),(920.04,921.04),(920.04,920.24),(916.48,920.24),(916.48,919.69),(916.14,919.69),(916.14,920.24)],
  [(926.75,920.24),(923.57,920.24),(923.57,920.065),(923.23,920.065),(923.23,920.24),(920.93,920.24),(920.93,920.065),(920.59,920.065),(920.59,920.24),(920.04,920.24),(920.04,921.04),(935.22,921.04),(935.22,920.24),(934.025,920.24),(934.025,920.065),(933.685,920.065),(933.685,920.24),(932.07,920.24),(932.07,920.065),(931.73,920.065),(931.73,920.24),(929.415,920.24),(929.415,919.405),(929.075,919.405),(929.075,920.24),(927.09,920.24),(927.09,919.4),(926.75,919.4),(926.75,920.24)])

lib.write_gds('_61__1__0_.gds')
